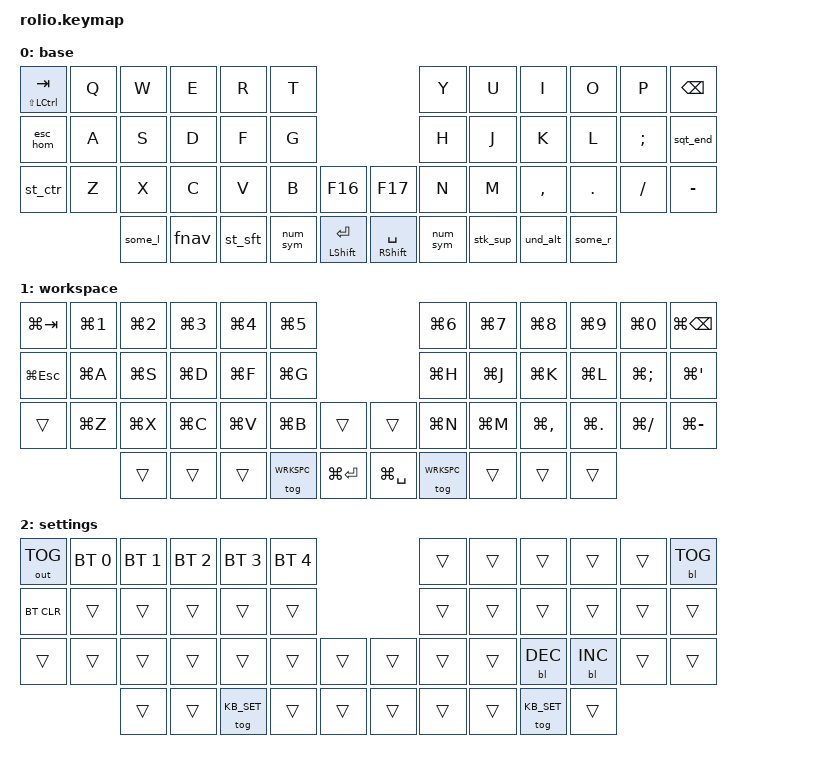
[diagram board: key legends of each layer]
#include <behaviors.dtsi>
#include <dt-bindings/zmk/backlight.h>
#include <dt-bindings/zmk/bt.h>
#include <dt-bindings/zmk/keys.h>
#include <dt-bindings/zmk/outputs.h>

#define HOST_OS 1  // set to 1 for Linux, default is 0 (Windows)
#include "helper.h"

/* layer shortcuts */

#define BASE      0
#define NUM_SYM   1
#define F_NAV     2
#define WRKSPC    3
#define WRK_SFT   4
#define WRK_CTR   5
#define KB_SET    6

/* custom behaviors */

// em dash
ZMK_BEHAVIOR(em_dash, macro,
    wait-ms = <5>;
    tap-ms = <5>;
    bindings = <&macro_press &kp LCTRL &kp LSHFT> ,
               <&macro_tap &kp U &kp N2 &kp N0 &kp N1 &kp N4 &kp SPACE> ,
               <&macro_release &kp LSHFT &kp LCTRL>;
)

// en dash
ZMK_BEHAVIOR(en_dash, macro,
    wait-ms = <5>;
    tap-ms = <5>;
    bindings = <&macro_press &kp LCTRL &kp LSHFT> ,
               <&macro_tap &kp U &kp N2 &kp N0 &kp N1 &kp N3 &kp SPACE> ,
               <&macro_release &kp LSHFT &kp LCTRL>;
)

// multiplication sign
ZMK_BEHAVIOR(multip, macro,
    wait-ms = <5>;
    tap-ms = <5>;
    bindings = <&macro_press &kp LCTRL &kp LSHFT> ,
               <&macro_tap &kp U &kp N0 &kp N0 &kp D &kp N7 &kp SPACE> ,
               <&macro_release &kp LSHFT &kp LCTRL>;
)

// tilde and backtick key
ZMK_BEHAVIOR(tilde_bkt, mod_morph,
    bindings = <&kp TILDE>, <&kp GRAVE>;
    mods = <(MOD_LSFT|MOD_RSFT)>;
)

// tap dance for escape key: 1 for escape, 2 for home
ZMK_BEHAVIOR(esc_hom, tap_dance,
    tapping-term-ms = <200>;
    bindings = <&kp ESC>, <&kp HOME>;
)

// tap dance for sqt key: 1 for sqt, 2 for end, hold for control
ZMK_BEHAVIOR(sqt_end, tap_dance,
    tapping-term-ms = <200>;
    bindings = <&mt RCTRL SQT>, <&kp END>;
)

// tap dance for control key: 1 for sticky control, 2 for sticky shift control
ZMK_BEHAVIOR(st_ctr, tap_dance,
    tapping-term-ms = <200>;
    bindings = <&sk LCTRL>, <&sk LS(LCTRL)>;
)

// tap dance for shift keys: 1 for sticky shift, 2 for capsword
ZMK_BEHAVIOR(st_sft, tap_dance,
    tapping-term-ms = <200>;
    bindings = <&sk LSHIFT>, <&caps_word>;
)

// tap dance for num-sym layer: 1 for sticky, 2 for toggle
ZMK_BEHAVIOR(num_sym, tap_dance,
    tapping-term-ms = <200>;
    bindings = <&sl 1>, <&tog 1>;
)

// tap dance for f-nav layer: 1 for sticky, 2 for toggle
ZMK_BEHAVIOR(fnav, tap_dance,
    tapping-term-ms = <200>;
    bindings = <&sl 2>, <&tog 2>;
)

// hold tap with sticky layer on the tap (used for super key below)
ZMK_BEHAVIOR(sticky_tp, hold_tap,
    tapping-term-ms = <200>;
    bindings = <&kp>, <&sl>;
)

// tap dance for super key: 1 for sticky workspace layer, 2 for sticky super shift layer, 3 for sticky super control layer, and hold for super
ZMK_BEHAVIOR(stk_sup, tap_dance,
    tapping-term-ms = <200>;
    bindings = <&sticky_tp LGUI 3>, <&sl 4>, <&sl 5>;
)

// tap dance for alt key: 1 for underscore, 2 for sticky alt, 3 for toggle settings layer
ZMK_BEHAVIOR(und_alt, tap_dance,
    tapping-term-ms = <200>;
    bindings = <&kp LS(MINUS)>, <&sk LALT>, <&tog 6>;
)

// tap dance for left 'sometimes' key: 1 for copy, 2 for cut
ZMK_BEHAVIOR(some_l, tap_dance,
    tapping-term-ms = <200>;
    bindings = <&kp LC(LS(C))>, <&kp LC(X)>;
)

// tap dance for right 'sometimes' key: 1 for paste, 2 for undo, 3 for toggle super control layer (to resize windows in river)
ZMK_BEHAVIOR(some_r, tap_dance,
    tapping-term-ms = <200>;
    bindings = <&kp LC(LS(V))>, <&kp LC(Z)>, <&tog 5>;
)

// aliases
#define LSFT_ENT        &mt LSHIFT ENTER
#define RSFT_SPC        &mt RSHIFT SPACE
#define TAB_SC          &mt LS(LEFT_CONTROL) TAB
#define EXCLAM          &kp EXCLAMATION
#define L_PAREN         &kp LEFT_PARENTHESIS
#define R_PAREN         &kp RIGHT_PARENTHESIS
#define L_BRACE         &kp LEFT_BRACE
#define R_BRACE         &kp RIGHT_BRACE
#define L_BRACK         &kp LEFT_BRACKET
#define R_BRACK         &kp RIGHT_BRACKET

/* keymap */

ZMK_LAYER(base,
     // ╭─────────────┬─────────────┬─────────────┬─────────────┬─────────────┬─────────────╮                               ╭─────────────┬─────────────┬─────────────┬─────────────┬─────────────┬─────────────╮
          TAB_SC        &kp Q         &kp W         &kp E         &kp R         &kp T                                         &kp Y         &kp U         &kp I         &kp O         &kp P         &kp BACKSPACE
     // ├─────────────┼─────────────┼─────────────┼─────────────┼─────────────┤─────────────┤                               ├─────────────┼─────────────┼─────────────┼─────────────┼─────────────┼─────────────┤
          &esc_hom      &kp A         &kp S         &kp D         &kp F         &kp G                                         &kp H         &kp J         &kp K         &kp L         &kp SEMI      &sqt_end
     // ├─────────────┼─────────────┼─────────────┼─────────────┼─────────────┤─────────────┤─────────────┤   ├─────────────├─────────────┼─────────────┼─────────────┼─────────────┼─────────────┼─────────────┤
          &st_ctr       &kp Z         &kp X         &kp C         &kp V         &kp B         &kp F16           &kp F17       &kp N         &kp M         &kp COMMA     &kp DOT       &kp FSLH      &kp MINUS
     // ╰─────────────┼─────────────┼─────────────┼─────────────┼─────────────┤─────────────┤─────────────┤   ├─────────────├─────────────┼─────────────┼─────────────┼─────────────┼─────────────┤─────────────╯
                                      &some_l       &fnav         &st_sft       &num_sym      LSFT_ENT          RSFT_SPC      &num_sym      &stk_sup      &und_alt      &some_r 
     //                             ╰─────────────┴─────────────┴─────────────┴─────────────┴─────────────╯   ╰─────────────┴─────────────┴─────────────┴─────────────┴─────────────╯
    , &inc_dec_kp UP DOWN &inc_dec_kp LEFT RIGHT
)

ZMK_LAYER(num-sym,
     // ╭─────────────┬─────────────┬─────────────┬─────────────┬─────────────┬─────────────╮                               ╭─────────────┬─────────────┬─────────────┬─────────────┬─────────────┬─────────────╮
          &trans        &kp NUMBER_1  &kp NUMBER_2  &kp NUMBER_3  &kp NUMBER_4  &kp NUMBER_5                                  &kp NUMBER_6  &kp NUMBER_7  &kp NUMBER_8  &kp NUMBER_9  &kp NUMBER_0  &trans
     // ├─────────────┼─────────────┼─────────────┼─────────────┼─────────────┤─────────────┤                               ├─────────────┼─────────────┼─────────────┼─────────────┼─────────────┼─────────────┤
          &trans        EXCLAM        &kp AT_SIGN   &kp HASH      &kp DOLLAR    &kp PERCENT                                   &kp CARET     &kp AMPERSAND L_PAREN       R_PAREN       &kp ASTERISK  &trans
     // ├─────────────┼─────────────┼─────────────┼─────────────┼─────────────┤─────────────┤─────────────┤   ├─────────────├─────────────┼─────────────┼─────────────┼─────────────┼─────────────┼─────────────┤
          &trans        &tilde_bkt    L_BRACE       R_BRACE       &kp PIPE      &kp EQUAL     &trans            &trans        &kp PLUS      &kp BACKSLASH &trans        &trans        &trans        &em_dash
     // ╰─────────────┼─────────────┼─────────────┼─────────────┼─────────────┤─────────────┤─────────────┤   ├─────────────├─────────────┼─────────────┼─────────────┼─────────────┼─────────────┤─────────────╯
                                      &trans        &trans        &trans        &tog NUM_SYM  &trans            &trans        &tog NUM_SYM  &trans        &trans        &trans
     //                             ╰─────────────┴─────────────┴─────────────┴─────────────┴─────────────╯   ╰─────────────┴─────────────┴─────────────┴─────────────┴─────────────╯
    , &inc_dec_kp C_VOL_UP C_VOL_DN &inc_dec_kp PG_UP PG_DN
)

ZMK_LAYER(f-nav,
     // ╭─────────────┬─────────────┬─────────────┬─────────────┬─────────────┬─────────────╮                               ╭─────────────┬─────────────┬─────────────┬─────────────┬─────────────┬─────────────╮
          &trans        &kp F1        &kp F2        &kp F3        &kp F4        &kp F5                                        &kp F6        &kp F7        &kp F8        &kp F9        &kp F10       &trans
     // ├─────────────┼─────────────┼─────────────┼─────────────┼─────────────┤─────────────┤                               ├─────────────┼─────────────┼─────────────┼─────────────┼─────────────┼─────────────┤
          &trans        &kp F11       &kp F12       &kp DEL       &kp PAGE_DOWN &kp PAGE_UP                                   &kp LEFT      &kp DOWN      &kp UP        &kp RIGHT     &trans        &trans
     // ├─────────────┼─────────────┼─────────────┼─────────────┼─────────────┤─────────────┤─────────────┤   ├─────────────├─────────────┼─────────────┼─────────────┼─────────────┼─────────────┼─────────────┤
          &trans        &trans        &trans        &trans        &trans        &trans        &trans            &trans        &trans        &trans        L_BRACK       R_BRACK       &multip       &en_dash
     // ╰─────────────┼─────────────┼─────────────┼─────────────┼─────────────┤─────────────┤─────────────┤   ├─────────────├─────────────┼─────────────┼─────────────┼─────────────┼─────────────┤─────────────╯
                                      &trans        &tog F_NAV    &trans        &trans        &trans            &trans        &trans        &trans        &trans        &trans
     //                             ╰─────────────┴─────────────┴─────────────┴─────────────┴─────────────╯   ╰─────────────┴─────────────┴─────────────┴─────────────┴─────────────╯
    , &inc_dec_kp UP DOWN &inc_dec_kp LEFT RIGHT
)

ZMK_LAYER(workspace,
     // ╭─────────────┬─────────────┬─────────────┬─────────────┬─────────────┬─────────────╮                               ╭─────────────┬────────────┬─────────────┬─────────────┬─────────────┬─────────────╮
          &kp LG(TAB)   &kp LG(N1)    &kp LG(N2)    &kp LG(N3)    &kp LG(N4)    &kp LG(N5)                                    &kp LG(N6)    &kp LG(N7)	 &kp LG(N8)    &kp LG(N9)    &kp LG(N0)    &kp LG(BACKSPACE)
     // ├─────────────┼─────────────┼─────────────┼─────────────┼─────────────┤─────────────┤                               ├─────────────┼────────────┼─────────────┼─────────────┼─────────────┼─────────────┤
          &kp LG(ESC)   &kp LG(A)     &kp LG(S)     &kp LG(D)     &kp LG(F)     &kp LG(G)                                     &kp LG(H)     &kp LG(J)    &kp LG(K)     &kp LG(L)     &kp LG(SEMI)  &kp LG(SQT)
     // ├─────────────┼─────────────┼─────────────┼─────────────┼─────────────┤─────────────┤─────────────┤   ├─────────────├─────────────┼────────────┼─────────────┼─────────────┼─────────────┼─────────────┤
          &trans        &kp LG(Z)     &kp LG(X)     &kp LG(C)     &kp LG(V)     &kp LG(B)     &trans            &trans        &kp LG(N)     &kp LG(M)    &kp LG(COMMA) &kp LG(DOT)   &kp LG(FSLH)  &kp LG(MINUS) 
     // ╰─────────────┼─────────────┼─────────────┼─────────────┼─────────────┤─────────────┤─────────────┤   ├─────────────├─────────────┼────────────┼─────────────┼─────────────┼─────────────┤─────────────╯
                                      &trans        &trans        &trans        &tog WRKSPC   &kp LG(ENTER)     &kp LG(SPACE) &tog WRKSPC   &trans       &trans        &trans
     //                             ╰─────────────┴─────────────┴─────────────┴─────────────┴─────────────╯   ╰─────────────┴─────────────┴────────────┴─────────────┴─────────────╯
    , &inc_dec_kp UP DOWN &inc_dec_kp LEFT RIGHT
)

ZMK_LAYER(worksp-sft,
     // ╭───────────────┬──────────────┬──────────────┬──────────────┬──────────────┬────────────────╮                                       ╭────────────────┬─────────────────┬─────────────────┬────────────────┬────────────────┬────────────────╮
          &kp LS(LG(TAB)) &kp LS(LG(N1)) &kp LS(LG(N2)) &kp LS(LG(N3)) &kp LS(LG(N4)) &kp LS(LG(N5))                                           &kp LS(LG(N6))   &kp LS(LG(N7))    &kp LS(LG(N8))    &kp LS(LG(N9))   &kp LS(LG(N0))   &kp LS(LG(BACKSPACE))
     // ├───────────────┼──────────────┼──────────────┼──────────────┼──────────────┤────────────────┤                                       ├────────────────┼─────────────────┼─────────────────┼────────────────┼────────────────┼────────────────┤
          &kp LS(LG(ESC)) &kp LS(LG(A))  &kp LS(LG(S))  &kp LS(LG(D))  &kp LS(LG(F))  &kp LS(LG(G))                                            &kp LS(LG(H))    &kp LS(LG(J))     &kp LS(LG(K))     &kp LS(LG(L))    &kp LS(LG(SEMI)) &kp LS(LG(SQT))
     // ├───────────────┼──────────────┼──────────────┼──────────────┼──────────────┤────────────────┤─────────────────┤   ├─────────────────├────────────────┼─────────────────┼─────────────────┼────────────────┼────────────────┼────────────────┤
          &trans          &kp LS(LG(Z))  &kp LS(LG(X))  &kp LS(LG(C))  &kp LS(LG(V))  &kp LS(LG(B))    &trans                &trans            &kp LS(LG(N))    &kp LS(LG(M))     &kp LS(LG(COMMA)) &kp LS(LG(DOT))  &kp LS(LG(FSLH)) &kp LS(LG(MINUS))
     // ╰───────────────┼──────────────┼──────────────┼──────────────┼──────────────┤────────────────┤─────────────────┤   ├─────────────────├────────────────┼─────────────────┼─────────────────┼────────────────┼────────────────┤────────────────╯
                                         &trans         &trans         &trans         &tog WRK_SFT     &kp LS(LG(ENTER))     &kp LS(LG(SPACE)) &tog WRK_SFT     &trans            &trans            &trans
     //                                ╰──────────────┴──────────────┴──────────────┴────────────────┴─────────────────╯   ╰─────────────────┴────────────────┴─────────────────┴─────────────────┴────────────────╯
    , &inc_dec_kp UP DOWN &inc_dec_kp LEFT RIGHT
)

ZMK_LAYER(worksp-ctr,
     // ╭───────────────┬──────────────┬──────────────┬──────────────┬──────────────┬────────────────╮                                       ╭──────────────────┬───────────────┬────────────────┬────────────────┬────────────────┬────────────────╮
          &kp LG(LC(TAB)) &kp LG(LC(N1)) &kp LG(LC(N2)) &kp LG(LC(N3)) &kp LG(LC(N4)) &kp LG(LC(N5))                                           &kp LG(LC(N6))     &kp LG(LC(N7))  &kp LG(LC(N8))   &kp LG(LC(N9))   &kp LG(LC(N0))   &kp LG(LC(BACKSPACE))
     // ├───────────────┼──────────────┼──────────────┼──────────────┼──────────────┤────────────────┤                                       ├──────────────────┼───────────────┼────────────────┼────────────────┼────────────────┼────────────────┤
          &kp LG(LC(ESC)) &kp LG(LC(A))  &kp LG(LC(S))  &kp LG(LC(D))  &kp LG(LC(F))  &kp LG(LC(G))                                            &kp LG(LC(H))      &kp LG(LC(J))   &kp LG(LC(K))    &kp LG(LC(L))    &kp LG(LC(SEMI)) &kp LG(LC(SQT))
     // ├───────────────┼──────────────┼──────────────┼──────────────┼──────────────┤────────────────┤─────────────────┤   ├─────────────────├──────────────────┼───────────────┼────────────────┼────────────────┼────────────────┼────────────────┤
          &trans          &kp LG(LC(Z))  &kp LG(LC(X))  &kp LG(LC(C))  &kp LG(LC(V))  &kp LG(LC(B))    &trans                &trans            &kp LG(LC(N))      &kp LG(LC(M))   &kp LG(LC(COMMA)) &kp LG(LC(DOT)) &kp LG(LC(FSLH)) &kp LG(LC(MINUS)) 
     // ╰───────────────┼──────────────┼──────────────┼──────────────┼──────────────┤────────────────┤─────────────────┤   ├─────────────────├──────────────────┼───────────────┼────────────────┼────────────────┼────────────────┤────────────────╯
                                         &trans         &trans         &trans         &tog WRK_CTR     &kp LG(LC(ENTER))     &kp LG(LC(SPACE)) &tog WRK_CTR       &trans          &trans           &trans
     //                                ╰──────────────┴──────────────┴──────────────┴────────────────┴─────────────────╯   ╰─────────────────┴──────────────────┴───────────────┴────────────────┴────────────────╯
    , &inc_dec_kp UP DOWN &inc_dec_kp LEFT RIGHT
)

ZMK_LAYER(settings,
     // ╭─────────────┬─────────────┬─────────────┬─────────────┬─────────────┬─────────────╮                               ╭─────────────┬─────────────┬─────────────┬─────────────┬─────────────┬─────────────╮
          &out OUT_TOG  &bt BT_SEL 0  &bt BT_SEL 1  &bt BT_SEL 2  &bt BT_SEL 3  &bt BT_SEL 4                                  &trans        &trans        &trans        &trans        &trans        &bl BL_TOG
     // ├─────────────┼─────────────┼─────────────┼─────────────┼─────────────┤─────────────┤                               ├─────────────┼─────────────┼─────────────┼─────────────┼─────────────┼─────────────┤
          &bt BT_CLR    &trans        &trans        &trans        &trans        &trans                                        &trans        &trans        &trans        &trans        &trans        &trans
     // ├─────────────┼─────────────┼─────────────┼─────────────┼─────────────┤─────────────┤─────────────┤   ├─────────────├─────────────┼─────────────┼─────────────┼─────────────┼─────────────┼─────────────┤
          &trans        &trans        &trans        &trans        &trans        &trans        &trans            &trans        &trans        &trans        &bl BL_DEC    &bl BL_INC    &trans        &trans
     // ╰─────────────┼─────────────┼─────────────┼─────────────┼─────────────┤─────────────┤─────────────┤   ├─────────────├─────────────┼─────────────┼─────────────┼─────────────┼─────────────┤─────────────╯
                                      &trans        &trans        &tog KB_SET   &trans        &trans            &trans        &trans        &trans        &tog KB_SET   &trans
     //                             ╰─────────────┴─────────────┴─────────────┴─────────────┴─────────────╯   ╰─────────────┴─────────────┴─────────────┴─────────────┴─────────────╯
    , &inc_dec_kp UP DOWN &inc_dec_kp LEFT RIGHT
)
